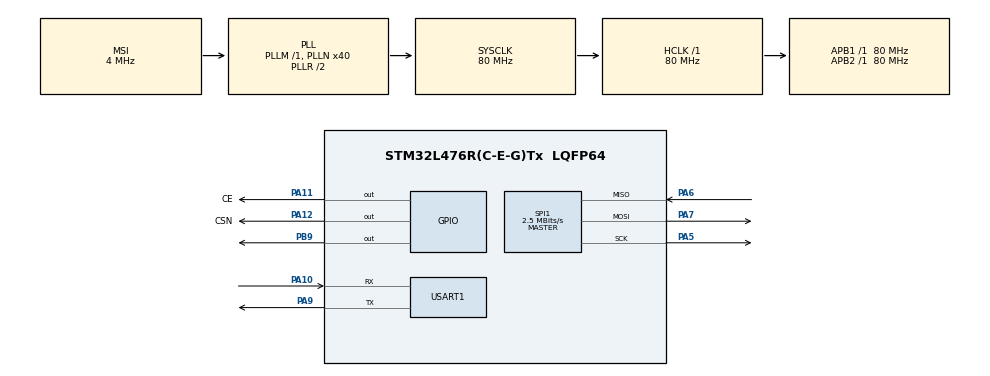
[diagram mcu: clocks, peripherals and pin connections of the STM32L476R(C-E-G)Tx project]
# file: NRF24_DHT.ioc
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Mcu.Family=STM32L4
Mcu.Name=STM32L476R(C-E-G)Tx
Mcu.Package=LQFP64
NVIC.PriorityGroup=NVIC_PRIORITYGROUP_4
PA10.Mode=Asynchronous
PA10.Signal=USART1_RX
PA11.GPIO_Label=CE
PA11.Signal=GPIO_Output
PA12.GPIO_Label=CSN
PA12.Signal=GPIO_Output
PA13\ (JTMS-SWDIO).Mode=Serial_Wire
PA13\ (JTMS-SWDIO).Signal=SYS_JTMS-SWDIO
PA14\ (JTCK-SWCLK).Mode=Serial_Wire
PA14\ (JTCK-SWCLK).Signal=SYS_JTCK-SWCLK
PA5.Mode=Full_Duplex_Master
PA5.Signal=SPI1_SCK
PA6.Mode=Full_Duplex_Master
PA6.Signal=SPI1_MISO
PA7.Mode=Full_Duplex_Master
PA7.Signal=SPI1_MOSI
PA9.Mode=Asynchronous
PA9.Signal=USART1_TX
PB9.Signal=GPIO_Output
PH0-OSC_IN\ (PH0).Mode=HSE-External-Oscillator
PH0-OSC_IN\ (PH0).Signal=RCC_OSC_IN
PH1-OSC_OUT\ (PH1).Mode=HSE-External-Oscillator
PH1-OSC_OUT\ (PH1).Signal=RCC_OSC_OUT
ProjectManager.HeapSize=0x200
ProjectManager.StackSize=0x400
ProjectManager.TargetToolchain=MDK-ARM V5.27
RCC.AHBFreq_Value=80000000
RCC.APB1Freq_Value=80000000
RCC.APB1TimFreq_Value=80000000
RCC.APB2Freq_Value=80000000
RCC.APB2TimFreq_Value=80000000
RCC.CortexFreq_Value=80000000
RCC.HCLKFreq_Value=80000000
RCC.HSE_VALUE=8000000
RCC.HSI_VALUE=16000000
RCC.LSE_VALUE=32768
RCC.MSI_VALUE=4000000
RCC.PLLN=40
RCC.SYSCLKFreq_VALUE=80000000
RCC.SYSCLKSource=RCC_SYSCLKSOURCE_PLLCLK
RCC.VCOOutputFreq_Value=160000000
SPI1.BaudRatePrescaler=SPI_BAUDRATEPRESCALER_32
SPI1.CalculateBaudRate=2.5 MBits/s
SPI1.Direction=SPI_DIRECTION_2LINES
SPI1.Mode=SPI_MODE_MASTER
SPI1.VirtualType=VM_MASTER
USART1.VirtualMode-Asynchronous=VM_ASYNC
board=custom

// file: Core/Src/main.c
/* USER CODE BEGIN Header */
/**
  ******************************************************************************
  * @file           : main.c
  * @brief          : Main program body
  ******************************************************************************
  * @attention
  *
  * <h2><center>&copy; Copyright (c) 2021 STMicroelectronics.
  * All rights reserved.</center></h2>
  *
  * This software component is licensed by ST under BSD 3-Clause license,
  * the "License"; You may not use this file except in compliance with the
  * License. You may obtain a copy of the License at:
  *                        opensource.org/licenses/BSD-3-Clause
  *
  ******************************************************************************
  */
/* USER CODE END Header */
#include "main.h"

/* USER CODE BEGIN Includes */
#include "DHT.h"
#include "nrf24.h"
/* USER CODE END Includes */

SPI_HandleTypeDef hspi1;

UART_HandleTypeDef huart1;

/* USER CODE BEGIN PV */
	DHT_DataTypedef DHT11_Data;
	float temp, humid;
	uint64_t pass= 0x11223344AA;
	char txData[32]="ton";

/* USER CODE END PV */

void SystemClock_Config(void);
static void MX_GPIO_Init(void);
static void MX_SPI1_Init(void);
static void MX_USART1_UART_Init(void);

int main(void)
{

  /* MCU Configuration--------------------------------------------------------*/

  /* Reset of all peripherals, Initializes the Flash interface and the Systick. */
  HAL_Init();

  /* Configure the system clock */
  SystemClock_Config();

  /* Initialize all configured peripherals */
  MX_GPIO_Init();
  MX_SPI1_Init();
  MX_USART1_UART_Init();
  /* USER CODE BEGIN 2 */
	Set_Pin_Input(GPIOB, GPIO_PIN_9);

	NRF24_begin(CSN_GPIO_Port, CSN_Pin, CE_Pin, hspi1);
	nrf24_DebugUART_Init(huart1);
	printRadioSettings();
	NRF24_stopListening();
	NRF24_openWritingPipe(pass);
	NRF24_setAutoAck(false);
	NRF24_setChannel(52);
	NRF24_setPayloadSize(32);

	Set_Pin_Output(GPIOB, GPIO_PIN_9);

  /* USER CODE END 2 */

  /* Infinite loop */
  while (1)
  {

    /* USER CODE BEGIN 3 */

		DHT_GetData(&DHT11_Data);
		temp= DHT11_Data.Temperature;
	  humid= DHT11_Data.Humidity;
		HAL_Delay(2000);
		if(NRF24_write(txData,32)){
			HAL_UART_Transmit(&huart1, (uint8_t *)"done\r\n", strlen("done\r\n"), 10);
		}
  }
  /* USER CODE END 3 */
}

void SystemClock_Config(void)
{
  RCC_OscInitTypeDef RCC_OscInitStruct = {0};
  RCC_ClkInitTypeDef RCC_ClkInitStruct = {0};
  RCC_PeriphCLKInitTypeDef PeriphClkInit = {0};

  /** Initializes the RCC Oscillators according to the specified parameters
  * in the RCC_OscInitTypeDef structure.
  */
  RCC_OscInitStruct.OscillatorType = RCC_OSCILLATORTYPE_MSI;
  RCC_OscInitStruct.MSIState = RCC_MSI_ON;
  RCC_OscInitStruct.MSICalibrationValue = 0;
  RCC_OscInitStruct.MSIClockRange = RCC_MSIRANGE_6;
  RCC_OscInitStruct.PLL.PLLState = RCC_PLL_ON;
  RCC_OscInitStruct.PLL.PLLSource = RCC_PLLSOURCE_MSI;
  RCC_OscInitStruct.PLL.PLLM = 1;
  RCC_OscInitStruct.PLL.PLLN = 40;
  RCC_OscInitStruct.PLL.PLLP = RCC_PLLP_DIV7;
  RCC_OscInitStruct.PLL.PLLQ = RCC_PLLQ_DIV2;
  RCC_OscInitStruct.PLL.PLLR = RCC_PLLR_DIV2;
  if (HAL_RCC_OscConfig(&RCC_OscInitStruct) != HAL_OK)
  {
    Error_Handler();
  }
  /** Initializes the CPU, AHB and APB buses clocks
  */
  RCC_ClkInitStruct.ClockType = RCC_CLOCKTYPE_HCLK|RCC_CLOCKTYPE_SYSCLK
                              |RCC_CLOCKTYPE_PCLK1|RCC_CLOCKTYPE_PCLK2;
  RCC_ClkInitStruct.SYSCLKSource = RCC_SYSCLKSOURCE_PLLCLK;
  RCC_ClkInitStruct.AHBCLKDivider = RCC_SYSCLK_DIV1;
  RCC_ClkInitStruct.APB1CLKDivider = RCC_HCLK_DIV1;
  RCC_ClkInitStruct.APB2CLKDivider = RCC_HCLK_DIV1;

  if (HAL_RCC_ClockConfig(&RCC_ClkInitStruct, FLASH_LATENCY_4) != HAL_OK)
  {
    Error_Handler();
  }
  PeriphClkInit.PeriphClockSelection = RCC_PERIPHCLK_USART1;
  PeriphClkInit.Usart1ClockSelection = RCC_USART1CLKSOURCE_PCLK2;
  if (HAL_RCCEx_PeriphCLKConfig(&PeriphClkInit) != HAL_OK)
  {
    Error_Handler();
  }
  /** Configure the main internal regulator output voltage
  */
  if (HAL_PWREx_ControlVoltageScaling(PWR_REGULATOR_VOLTAGE_SCALE1) != HAL_OK)
  {
    Error_Handler();
  }
}

static void MX_SPI1_Init(void)
{

  /* SPI1 parameter configuration*/
  hspi1.Instance = SPI1;
  hspi1.Init.Mode = SPI_MODE_MASTER;
  hspi1.Init.Direction = SPI_DIRECTION_2LINES;
  hspi1.Init.DataSize = SPI_DATASIZE_4BIT;
  hspi1.Init.CLKPolarity = SPI_POLARITY_LOW;
  hspi1.Init.CLKPhase = SPI_PHASE_1EDGE;
  hspi1.Init.NSS = SPI_NSS_SOFT;
  hspi1.Init.BaudRatePrescaler = SPI_BAUDRATEPRESCALER_32;
  hspi1.Init.FirstBit = SPI_FIRSTBIT_MSB;
  hspi1.Init.TIMode = SPI_TIMODE_DISABLE;
  hspi1.Init.CRCCalculation = SPI_CRCCALCULATION_DISABLE;
  hspi1.Init.CRCPolynomial = 7;
  hspi1.Init.CRCLength = SPI_CRC_LENGTH_DATASIZE;
  hspi1.Init.NSSPMode = SPI_NSS_PULSE_ENABLE;
  if (HAL_SPI_Init(&hspi1) != HAL_OK)
  {
    Error_Handler();
  }

}

static void MX_USART1_UART_Init(void)
{

  huart1.Instance = USART1;
  huart1.Init.BaudRate = 115200;
  huart1.Init.WordLength = UART_WORDLENGTH_8B;
  huart1.Init.StopBits = UART_STOPBITS_1;
  huart1.Init.Parity = UART_PARITY_NONE;
  huart1.Init.Mode = UART_MODE_TX_RX;
  huart1.Init.HwFlowCtl = UART_HWCONTROL_NONE;
  huart1.Init.OverSampling = UART_OVERSAMPLING_16;
  huart1.Init.OneBitSampling = UART_ONE_BIT_SAMPLE_DISABLE;
  huart1.AdvancedInit.AdvFeatureInit = UART_ADVFEATURE_NO_INIT;
  if (HAL_UART_Init(&huart1) != HAL_OK)
  {
    Error_Handler();
  }

}

static void MX_GPIO_Init(void)
{
  GPIO_InitTypeDef GPIO_InitStruct = {0};

  /* GPIO Ports Clock Enable */
  __HAL_RCC_GPIOH_CLK_ENABLE();
  __HAL_RCC_GPIOA_CLK_ENABLE();
  __HAL_RCC_GPIOB_CLK_ENABLE();

  /*Configure GPIO pin Output Level */
  HAL_GPIO_WritePin(GPIOA, CE_Pin|CSN_Pin, GPIO_PIN_RESET);

  /*Configure GPIO pin Output Level */
  HAL_GPIO_WritePin(GPIOB, GPIO_PIN_9, GPIO_PIN_RESET);

  /*Configure GPIO pins : CE_Pin CSN_Pin */
  GPIO_InitStruct.Pin = CE_Pin|CSN_Pin;
  GPIO_InitStruct.Mode = GPIO_MODE_OUTPUT_PP;
  GPIO_InitStruct.Pull = GPIO_NOPULL;
  GPIO_InitStruct.Speed = GPIO_SPEED_FREQ_LOW;
  HAL_GPIO_Init(GPIOA, &GPIO_InitStruct);

  /*Configure GPIO pin : PB9 */
  GPIO_InitStruct.Pin = GPIO_PIN_9;
  GPIO_InitStruct.Mode = GPIO_MODE_OUTPUT_PP;
  GPIO_InitStruct.Pull = GPIO_NOPULL;
  GPIO_InitStruct.Speed = GPIO_SPEED_FREQ_LOW;
  HAL_GPIO_Init(GPIOB, &GPIO_InitStruct);

}

void Error_Handler(void)
{
  __disable_irq();
  while (1)
  {
  }
}

/************************ (C) COPYRIGHT STMicroelectronics *****END OF FILE****/
